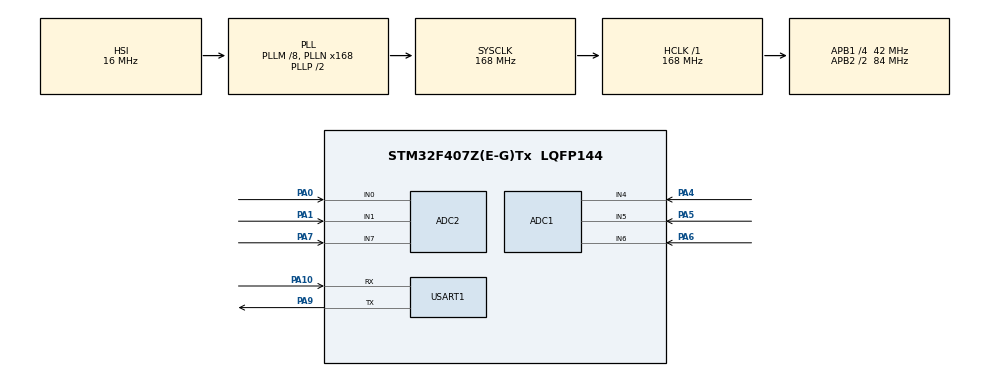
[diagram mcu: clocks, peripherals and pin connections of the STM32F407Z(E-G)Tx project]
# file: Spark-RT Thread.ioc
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ADC1.Channel-0\#ChannelRegularConversion=ADC_CHANNEL_4
ADC1.Channel-1\#ChannelRegularConversion=ADC_CHANNEL_5
ADC1.Channel-2\#ChannelRegularConversion=ADC_CHANNEL_6
ADC1.ClockPrescaler=ADC_CLOCK_SYNC_PCLK_DIV8
ADC1.DMAContinuousRequests=ENABLE
ADC1.ExternalTrigConv=ADC_EXTERNALTRIGCONV_T3_TRGO
ADC1.NbrOfConversion=3
ADC1.NbrOfConversionFlag=1
ADC1.Rank-0\#ChannelRegularConversion=1
ADC1.Rank-1\#ChannelRegularConversion=2
ADC1.Rank-2\#ChannelRegularConversion=3
ADC1.SamplingTime-0\#ChannelRegularConversion=ADC_SAMPLETIME_480CYCLES
ADC1.SamplingTime-1\#ChannelRegularConversion=ADC_SAMPLETIME_480CYCLES
ADC1.SamplingTime-2\#ChannelRegularConversion=ADC_SAMPLETIME_480CYCLES
ADC1.ScanConvMode=ENABLE
ADC1.master=1
ADC2.Channel-0\#ChannelRegularConversion=ADC_CHANNEL_0
ADC2.Channel-1\#ChannelRegularConversion=ADC_CHANNEL_1
ADC2.Channel-2\#ChannelRegularConversion=ADC_CHANNEL_7
ADC2.ClockPrescaler=ADC_CLOCK_SYNC_PCLK_DIV8
ADC2.DMAContinuousRequests=ENABLE
ADC2.ExternalTrigConv=ADC_EXTERNALTRIGCONV_T3_TRGO
ADC2.NbrOfConversion=3
ADC2.NbrOfConversionFlag=1
ADC2.Rank-0\#ChannelRegularConversion=1
ADC2.Rank-1\#ChannelRegularConversion=2
ADC2.Rank-2\#ChannelRegularConversion=3
ADC2.SamplingTime-0\#ChannelRegularConversion=ADC_SAMPLETIME_480CYCLES
ADC2.SamplingTime-1\#ChannelRegularConversion=ADC_SAMPLETIME_480CYCLES
ADC2.SamplingTime-2\#ChannelRegularConversion=ADC_SAMPLETIME_480CYCLES
ADC2.ScanConvMode=ENABLE
Dma.ADC1.0.Direction=DMA_PERIPH_TO_MEMORY
Dma.ADC1.0.FIFOMode=DMA_FIFOMODE_DISABLE
Dma.ADC1.0.Instance=DMA2_Stream0
Dma.ADC1.0.MemDataAlignment=DMA_MDATAALIGN_HALFWORD
Dma.ADC1.0.MemInc=DMA_MINC_ENABLE
Dma.ADC1.0.Mode=DMA_CIRCULAR
Dma.ADC1.0.PeriphDataAlignment=DMA_PDATAALIGN_HALFWORD
Dma.ADC1.0.PeriphInc=DMA_PINC_DISABLE
Dma.ADC1.0.Priority=DMA_PRIORITY_LOW
Dma.ADC2.1.Direction=DMA_PERIPH_TO_MEMORY
Dma.ADC2.1.FIFOMode=DMA_FIFOMODE_DISABLE
Dma.ADC2.1.Instance=DMA2_Stream2
Dma.ADC2.1.MemDataAlignment=DMA_MDATAALIGN_HALFWORD
Dma.ADC2.1.MemInc=DMA_MINC_ENABLE
Dma.ADC2.1.Mode=DMA_CIRCULAR
Dma.ADC2.1.PeriphDataAlignment=DMA_PDATAALIGN_HALFWORD
Dma.ADC2.1.PeriphInc=DMA_PINC_DISABLE
Dma.ADC2.1.Priority=DMA_PRIORITY_LOW
Dma.Request0=ADC1
Dma.Request1=ADC2
Dma.Request2=USART1_RX
Dma.Request3=USART1_TX
Dma.USART1_RX.2.Direction=DMA_PERIPH_TO_MEMORY
Dma.USART1_RX.2.FIFOMode=DMA_FIFOMODE_DISABLE
Dma.USART1_RX.2.Instance=DMA2_Stream5
Dma.USART1_RX.2.MemDataAlignment=DMA_MDATAALIGN_BYTE
Dma.USART1_RX.2.MemInc=DMA_MINC_ENABLE
Dma.USART1_RX.2.Mode=DMA_NORMAL
Dma.USART1_RX.2.PeriphDataAlignment=DMA_PDATAALIGN_BYTE
Dma.USART1_RX.2.PeriphInc=DMA_PINC_DISABLE
Dma.USART1_RX.2.Priority=DMA_PRIORITY_MEDIUM
Dma.USART1_TX.3.Direction=DMA_MEMORY_TO_PERIPH
Dma.USART1_TX.3.FIFOMode=DMA_FIFOMODE_DISABLE
Dma.USART1_TX.3.Instance=DMA2_Stream7
Dma.USART1_TX.3.MemDataAlignment=DMA_MDATAALIGN_BYTE
Dma.USART1_TX.3.MemInc=DMA_MINC_ENABLE
Dma.USART1_TX.3.Mode=DMA_NORMAL
Dma.USART1_TX.3.PeriphDataAlignment=DMA_PDATAALIGN_BYTE
Dma.USART1_TX.3.PeriphInc=DMA_PINC_DISABLE
Dma.USART1_TX.3.Priority=DMA_PRIORITY_VERY_HIGH
Mcu.Family=STM32F4
Mcu.Name=STM32F407Z(E-G)Tx
Mcu.Package=LQFP144
NVIC.ADC_IRQn=true\:0\:0\:false\:false\:true\:false\:true\:true\:true
NVIC.DMA2_Stream0_IRQn=true\:0\:0\:false\:false\:true\:true\:false\:true\:true
NVIC.DMA2_Stream2_IRQn=true\:0\:0\:false\:false\:true\:true\:false\:true\:true
NVIC.DMA2_Stream5_IRQn=true\:0\:0\:false\:false\:true\:true\:false\:true\:true
NVIC.DMA2_Stream7_IRQn=true\:0\:0\:false\:false\:true\:true\:false\:true\:true
NVIC.PriorityGroup=NVIC_PRIORITYGROUP_4
NVIC.USART1_IRQn=true\:0\:0\:false\:false\:true\:false\:true\:true\:true
PA0-WKUP.Signal=ADCx_IN0
PA1.Signal=ADCx_IN1
PA10.Mode=Asynchronous
PA10.Signal=USART1_RX
PA13.Mode=Serial_Wire
PA13.Signal=SYS_JTMS-SWDIO
PA14.Mode=Serial_Wire
PA14.Signal=SYS_JTCK-SWCLK
PA4.Signal=ADCx_IN4
PA5.Signal=ADCx_IN5
PA6.Signal=ADCx_IN6
PA7.Signal=ADCx_IN7
PA9.Mode=Asynchronous
PA9.Signal=USART1_TX
PH0-OSC_IN.Mode=HSE-External-Oscillator
PH0-OSC_IN.Signal=RCC_OSC_IN
PH1-OSC_OUT.Mode=HSE-External-Oscillator
PH1-OSC_OUT.Signal=RCC_OSC_OUT
ProjectManager.HeapSize=0x200
ProjectManager.StackSize=0x400
ProjectManager.TargetToolchain=MDK-ARM V5.32
RCC.48MHZClocksFreq_Value=84000000
RCC.AHBFreq_Value=168000000
RCC.APB1CLKDivider=RCC_HCLK_DIV4
RCC.APB1Freq_Value=42000000
RCC.APB1TimFreq_Value=84000000
RCC.APB2CLKDivider=RCC_HCLK_DIV2
RCC.APB2Freq_Value=84000000
RCC.APB2TimFreq_Value=168000000
RCC.CortexFreq_Value=168000000
RCC.HCLKFreq_Value=168000000
RCC.HSE_VALUE=25000000
RCC.HSI_VALUE=16000000
RCC.LSE_VALUE=32768
RCC.PLLM=8
RCC.PLLN=168
RCC.SYSCLKFreq_VALUE=168000000
RCC.SYSCLKSource=RCC_SYSCLKSOURCE_PLLCLK
RCC.VCOOutputFreq_Value=336000000
RealThread.RT-Thread.3.1.3.RTAaThreadCcRTOSJjkernel=true
RealThread.RT-Thread.3.1.3.RTAaThreadCcRTOSJjshell=true
RealThread.RT-Thread.3.1.3.RT_DEBUG_INIT=0
RealThread.RT-Thread.3.1.3.RT_USING_EVENT=1
RealThread.RT-Thread.3.1.3.RT_USING_HEAP=1
SH.ADCx_IN0.0=ADC2_IN0,IN0
SH.ADCx_IN1.0=ADC2_IN1,IN1
SH.ADCx_IN4.0=ADC1_IN4,IN4
SH.ADCx_IN5.0=ADC1_IN5,IN5
SH.ADCx_IN6.0=ADC1_IN6,IN6
SH.ADCx_IN7.0=ADC2_IN7,IN7
STMicroelectronics.X-CUBE-ALGOBUILD.1.4.0.LibraryCcDSPOoLibraryJjDSPOoLibrary=true
TIM3.Period=499
TIM3.Prescaler=83
TIM3.TIM_MasterOutputTrigger=TIM_TRGO_UPDATE
USART1.VirtualMode=VM_ASYNC
VP_RealThread.RT-Thread_VS_RTOSJjRTAaThread_3.1.3.Mode=RTOSJjRTAaThread
VP_STMicroelectronics.X-CUBE-ALGOBUILD_VS_DSPOoLibraryJjLibrary_1.4.0_1.4.0.Mode=DSPOoLibraryJjLibrary
VP_TIM3_VS_ClockSourceINT.Mode=Internal
board=custom

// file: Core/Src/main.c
/* USER CODE BEGIN Header */
/**
  ******************************************************************************
  * @file           : main.c
  * @brief          : Main program body
  ******************************************************************************
  * @attention
  *
  * Copyright (c) 2025 STMicroelectronics.
  * All rights reserved.
  *
  * This software is licensed under terms that can be found in the LICENSE file
  * in the root directory of this software component.
  * If no LICENSE file comes with this software, it is provided AS-IS.
  *
  ******************************************************************************
  */
/* USER CODE END Header */
#include "main.h"
#include "adc.h"
#include "dma.h"
#include "tim.h"
#include "usart.h"
#include "gpio.h"

/* USER CODE BEGIN Includes */
#include <stdio.h>
#include <string.h>
#include "data.h"
#include <stdlib.h>
#include <rtthread.h>
#include <rthw.h>
/* #include "perform_fft.h" */

/* USER CODE END Includes */

/* USER CODE BEGIN PD */
#define RVE 1.333f
#define ADC_SCALE (3.3f / 4095.0f)
#define BUFFER_SIZE 1080*4

#define EVENT_FLAG_ADC_1_half   (1 << 0)         //ADC采集完成信号
#define EVENT_FLAG_ADC_2_half   (1 << 1)
#define EVENT_FLAG_ADC_1_entire   (1 << 2)
#define EVENT_FLAG_ADC_2_entire   (1 << 3)

#define EVENT_FLAG_bufferA  (1 << 4)        //事件处理完
#define EVENT_FLAG_bufferB  (1 << 5)
#define EVENT_FLAG_bufferA_foc  (1 << 6)
#define EVENT_FLAG_bufferB_foc  (1 << 7)

#define EVENT_FLAG_SENT          (1 << 8)    // UART发送前半信号
#define EVENT_FLAG_SENT_FOC      (1 << 9)

#define UART_RX_LEN 64
/* USER CODE END PD */

/* USER CODE BEGIN PV */
float a = 3.14f;
float voltage_adc1,voltage_adc2;
uint16_t adc_buffer[6200];     //数据采集数组
volatile uint8_t DMA_half = 0;//volatile初始化标志位，防止被更改
volatile uint8_t DMA_finish = 0;
volatile int uart_tx_busy = 0;//串口
char motor_flag = 0;
uint8_t uart_rx_buf[UART_RX_LEN]; // DMA接收缓冲区

static rt_thread_t uart_tid = RT_NULL;//线程句柄
static rt_thread_t event_tid = RT_NULL;
static rt_event_t global_event;

char UART_1_HALF_COMPLETE_ELE;  //串口发送标志位
char UART_1_ENTIRE_COMPLETE_ELE;
char UART_2_HALF_COMPLETE_ELE;
char UART_2_ENTIRE_COMPLETE_ELE;

char UART_1_HALF_COMPLETE_SOUND;  //串口发送标志位
char UART_1_ENTIRE_COMPLETE_SOUND;
char UART_2_HALF_COMPLETE_SOUND;
char UART_2_ENTIRE_COMPLETE_SOUND;

char UART_1_HALF_COMPLETE_SHOCK;  //串口发送标志位
char UART_1_ENTIRE_COMPLETE_SHOCK;
char UART_2_HALF_COMPLETE_SHOCK;
char UART_2_ENTIRE_COMPLETE_SHOCK;

float *ele_buffer = RT_NULL;//定义动态数组指针
float *ele_buffer_foc = RT_NULL;
char *buffer_A = RT_NULL;
char *buffer_B = RT_NULL;
char *buffer_A_foc = RT_NULL;
char *buffer_B_foc = RT_NULL;
char *buffer_A_sound = RT_NULL;
char *buffer_B_sound = RT_NULL;
char *buffer_A_foc_sound = RT_NULL;
char *buffer_B_foc_sound = RT_NULL;
char *buffer_A_shock = RT_NULL;
char *buffer_B_shock = RT_NULL;
char *buffer_A_foc_shock = RT_NULL;
char *buffer_B_foc_shock = RT_NULL;

/* USER CODE END PV */

void SystemClock_Config(void);

/* USER CODE BEGIN 0 */

const char* motor_change(char flag)//电机数据通道切换
{
  switch (flag)
{
  case 0: // dcm1
  return "dcm_1";//退出并返回flag
  case 1: // dcm2
  return "dcm_2";
  case 2: // dcm3
  return "dcm_3";
  case 3: // dcm4
  return "dcm_4";
  case 4: // foc1
  return "foc_1";
  case 5: // foc2
  return "foc_2";
  case 6: // foc3
  return "foc_3";
  case 7: // foc4
  return "foc_4";
  default:
  return "unknown";
}
}

//数据发送线程
static void uart_thread_entry(void *parameter)
{
    rt_uint32_t recved;
while (1)
{
    if (rt_event_recv(global_event,
                          EVENT_FLAG_bufferA | EVENT_FLAG_bufferA_foc |
                          EVENT_FLAG_bufferB | EVENT_FLAG_bufferB_foc,
                          RT_EVENT_FLAG_OR | RT_EVENT_FLAG_CLEAR,
                          RT_WAITING_FOREVER,
                          &recved) == RT_EOK)//等待接受事件标志+自动清除标志
        {
            if (recved & EVENT_FLAG_bufferA)
            {
                  /* 发送电流 */
                  if(buffer_A) rt_free(buffer_A);
                  buffer_A = (char *)rt_malloc(1080 * 4 * sizeof(char));
									if (!buffer_A) {
									rt_kprintf("Malloc failed: buffer_A\n");
									continue;
													}
                  const char* motor = motor_change(motor_flag);
									int offset = 0;//sniprintf格式化数组
                  offset+= snprintf(buffer_A + offset,BUFFER_SIZE-offset,"%s\n%s\n%s\n","FF FF",motor,"1");
                  for (int i = 0; i < 3070; i+=3)
                  {
                    offset+= snprintf(buffer_A + offset,BUFFER_SIZE-offset,"%.5f\n",ele_buffer[i]-0.06f);
                  }
                    offset+= snprintf(buffer_A + offset,BUFFER_SIZE-offset,"%s\n","FF FE");
									while (uart_tx_busy)
									rt_thread_mdelay(1);
									uart_tx_busy = 1;
                  HAL_UART_Transmit_DMA(&huart1, (uint8_t*)buffer_A, offset);
                  UART_1_HALF_COMPLETE_ELE = 1;
                  rt_thread_mdelay(3000);

                  /* 发送声音 */
                  if(buffer_A_sound) rt_free(buffer_A_sound);
                  buffer_A_sound = (char *)rt_malloc(1080 * 4 * sizeof(char));
									if (!buffer_A_sound) {
									rt_kprintf("Malloc failed: buffer_A_sound\n");
									continue;
													}
                  offset = 0;
									motor = motor_change(motor_flag);
                  offset+= snprintf(buffer_A_sound + offset,BUFFER_SIZE-offset,"%s\n%s\n%s\n","FF FF",motor,"2");
                  for (int i = 1; i < 3071; i+=3)
                  {
                  offset+= snprintf(buffer_A_sound + offset,BUFFER_SIZE-offset,"%.5f\n",ele_buffer[i]-0.16f);
                  }
                  offset+= snprintf(buffer_A_sound + offset,BUFFER_SIZE-offset,"%s\n","FF FE");
									while (uart_tx_busy)
									rt_thread_mdelay(1);
									uart_tx_busy = 1;
                  HAL_UART_Transmit_DMA(&huart1, (uint8_t*)buffer_A_sound, offset);
                  UART_1_HALF_COMPLETE_SOUND = 1;
                  rt_thread_mdelay(3000);

                  /* 发送震动 */
                  if(buffer_A_shock) rt_free(buffer_A_shock);
                  buffer_A_shock = (char *)rt_malloc(1080 * 4 * sizeof(char));
									if (!buffer_A_sound) {
									rt_kprintf("Malloc failed: buffer_A_sound\n");
									continue;
													}
                  offset = 0;
									motor = motor_change(motor_flag);
                  offset+= snprintf(buffer_A_shock + offset,BUFFER_SIZE-offset,"%s\n%s\n%s\n","FF FF",motor,"3");
                  for (int i = 2; i < 3072; i+=3)
                  {
                  offset+= snprintf(buffer_A_shock + offset,BUFFER_SIZE-offset,"%.5f\n",ele_buffer[i]);
                  }
                  offset+= snprintf(buffer_A_shock + offset,BUFFER_SIZE-offset,"%s\n","FF FE");
									while (uart_tx_busy)
									rt_thread_mdelay(1);
									uart_tx_busy = 1;
                  HAL_UART_Transmit_DMA(&huart1, (uint8_t*)buffer_A_shock, offset);
                  UART_1_HALF_COMPLETE_SHOCK = 1;
                  rt_thread_mdelay(3000);
            }

            if (recved & EVENT_FLAG_bufferA_foc)
            {
                 /* 发送foc电流 */
                 if(buffer_A_foc) rt_free(buffer_A_foc);
                 buffer_A_foc = (char *)rt_malloc(1080 * 4 * sizeof(char));
								 if (!buffer_A_foc) {
								 rt_kprintf("Malloc failed: buffer_A_foc\n");
								 continue;
													}
                 int offset = 0;//sniprintf格式化数组
								 const char* motor = motor_change(motor_flag);
                 offset+= snprintf(buffer_A_foc + offset,BUFFER_SIZE-offset,"%s\n%s\n%s\n","FF FF",motor,"1");
                 for (int i = 0; i < 3070; i+=3)
                 {
                 offset+= snprintf(buffer_A_foc + offset,BUFFER_SIZE-offset,"%.5f\n",ele_buffer_foc[i]);
                 }
                 offset+= snprintf(buffer_A_foc + offset,BUFFER_SIZE-offset,"%s\n","FF FE");
								 while (uart_tx_busy)
								 rt_thread_mdelay(1);
								 uart_tx_busy = 1;
                 HAL_UART_Transmit_DMA(&huart1, (uint8_t*)buffer_A_foc, offset);
                 UART_2_HALF_COMPLETE_ELE = 1;
                 rt_thread_mdelay(3000);

                 /* 发送foc声音 */
                 if(buffer_A_foc_sound) rt_free(buffer_A_foc_sound);
                 buffer_A_foc_sound = (char *)rt_malloc(1080 * 4 * sizeof(char));
								 if (!buffer_A_foc_sound) {
								 rt_kprintf("Malloc failed: buffer_A_foc_sound\n");
								 continue;
													}
                 offset = 0;//sniprintf格式化数组
								 motor = motor_change(motor_flag);
                 offset+= snprintf(buffer_A_foc_sound + offset,BUFFER_SIZE-offset,"%s\n%s\n%s\n","FF FF",motor,"2");
                 for (int i = 1; i < 3071; i+=3)
                 {
                 offset+= snprintf(buffer_A_foc_sound + offset,BUFFER_SIZE-offset,"%.5f\n",ele_buffer_foc[i]);
                 }
                 offset+= snprintf(buffer_A_foc_sound + offset,BUFFER_SIZE-offset,"%s\n","FF FE");
								 while (uart_tx_busy)
								 rt_thread_mdelay(1);
								 uart_tx_busy = 1;
                 HAL_UART_Transmit_DMA(&huart1, (uint8_t*)buffer_A_foc_sound, offset);
                 UART_2_HALF_COMPLETE_SOUND = 1;
                 rt_thread_mdelay(3000);

                 /* 发送foc震动 */
                 if(buffer_A_foc_shock) rt_free(buffer_A_foc_shock);
                 buffer_A_foc_shock = (char *)rt_malloc(1080 * 4 * sizeof(char));
								 if (!buffer_A_foc_shock) {
								 rt_kprintf("Malloc failed: buffer_A_foc_shock\n");
								 continue;
													}
                 offset = 0;//sniprintf格式化数组
								 motor = motor_change(motor_flag);
                 offset+= snprintf(buffer_A_foc_shock + offset,BUFFER_SIZE-offset,"%s\n%s\n%s\n","FF FF",motor,"3");
                 for (int i = 2; i < 3072; i+=3)
                 {
                 offset+= snprintf(buffer_A_foc_shock + offset,BUFFER_SIZE-offset,"%.5f\n",ele_buffer_foc[i]);
                 }
                 offset+= snprintf(buffer_A_foc_shock + offset,BUFFER_SIZE-offset,"%s\n","FF FE");
								 while (uart_tx_busy)
								 rt_thread_mdelay(1);
								 uart_tx_busy = 1;
                 HAL_UART_Transmit_DMA(&huart1, (uint8_t*)buffer_A_foc_shock, offset);
                 UART_2_HALF_COMPLETE_SHOCK = 1;
                 rt_thread_mdelay(3000);
            }
            if (recved & EVENT_FLAG_ADC_1_entire)
            {
                  /* 发送电流 */
                  if(buffer_B) rt_free(buffer_B);
                  buffer_B = (char *)rt_malloc(1080 * 4 * sizeof(char));
								  if (!buffer_B) {
								  rt_kprintf("Malloc failed: buffer_B\n");
								  continue;
													}
                  int offset = 0;//sniprintf格式化数组
									const char* motor = motor_change(motor_flag);
                  offset+= snprintf(buffer_B + offset,BUFFER_SIZE-offset,"%s\n%s\n%s\n","FF FF",motor,"1");
                  for (int i = 3072; i < 6142; i+=3)
                  {
                    offset+= snprintf(buffer_B + offset,BUFFER_SIZE-offset,"%.5f\n",ele_buffer[i]-0.06f);
                  }
                    offset+= snprintf(buffer_B + offset,BUFFER_SIZE-offset,"%s\n","FF FE");
								  while (uart_tx_busy)
								  rt_thread_mdelay(1);
								  uart_tx_busy = 1;
                  HAL_UART_Transmit_DMA(&huart1, (uint8_t*)buffer_B, offset);
                  UART_1_ENTIRE_COMPLETE_ELE = 1;
                  rt_thread_mdelay(3000);

                  /* 发送声音 */
                  if(buffer_B_sound) rt_free(buffer_B_sound);
                  buffer_B_sound = (char *)rt_malloc(1080 * 4 * sizeof(char));
								  if (!buffer_B_sound) {
								  rt_kprintf("Malloc failed: buffer_B_sound\n");
								  continue;
													}
                  offset = 0;
									motor = motor_change(motor_flag);
                  offset+= snprintf(buffer_B_sound + offset,BUFFER_SIZE-offset,"%s\n%s\n%s\n","FF FF",motor,"2");
                  for (int i = 3073; i < 6143; i+=3)
                  {
                  offset+= snprintf(buffer_B_sound + offset,BUFFER_SIZE-offset,"%.5f\n",ele_buffer[i]-0.16f);
                  }
                  offset+= snprintf(buffer_B_sound + offset,BUFFER_SIZE-offset,"%s\n","FF FE");
								  while (uart_tx_busy)
								  rt_thread_mdelay(1);
								  uart_tx_busy = 1;
                  HAL_UART_Transmit_DMA(&huart1, (uint8_t*)buffer_B_sound, offset);
                  UART_1_ENTIRE_COMPLETE_SOUND = 1;
                  rt_thread_mdelay(3000);

                  /* 发送震动 */
                  if(buffer_B_shock) rt_free(buffer_B_shock);
                  buffer_B_shock = (char *)rt_malloc(1080 * 4 * sizeof(char));
								  if (!buffer_B_shock) {
								  rt_kprintf("Malloc failed: buffer_B_shock\n");
								  continue;
													}
                  offset = 0;
									motor = motor_change(motor_flag);
                  offset+= snprintf(buffer_B_shock + offset,BUFFER_SIZE-offset,"%s\n%s\n%s\n","FF FF",motor,"3");
                  for (int i = 3074; i < 6144; i+=3)
                  {
                  offset+= snprintf(buffer_B_shock + offset,BUFFER_SIZE-offset,"%.5f\n",ele_buffer[i]);
                  }
                  offset+= snprintf(buffer_B_shock + offset,BUFFER_SIZE-offset,"%s\n","FF FE");
								  while (uart_tx_busy)
								  rt_thread_mdelay(1);
								  uart_tx_busy = 1;
                  HAL_UART_Transmit_DMA(&huart1, (uint8_t*)buffer_B_shock, offset);
                  UART_1_ENTIRE_COMPLETE_SHOCK = 1;
                  rt_thread_mdelay(3000);

            }

            if (recved & EVENT_FLAG_ADC_2_entire)
            {
                 /* 发送foc电流 */
                 if(buffer_B_foc) rt_free(buffer_B_foc);
                 buffer_B_foc = (char *)rt_malloc(1080 * 4 * sizeof(char));
								 if (!buffer_B_foc) {
								 rt_kprintf("Malloc failed: buffer_B_foc\n");
								 continue;
													}
                 int offset = 0;//sniprintf格式化数组
								 const char* motor = motor_change(motor_flag);
                 offset+= snprintf(buffer_B_foc + offset,BUFFER_SIZE-offset,"%s\n%s\n%s\n","FF FF",motor,"1");
                 for (int i = 3072; i < 6142; i+=3)
                 {
                 offset+= snprintf(buffer_B_foc + offset,BUFFER_SIZE-offset,"%.5f\n",ele_buffer_foc[i]);
                 }
                 offset+= snprintf(buffer_B_foc + offset,BUFFER_SIZE-offset,"%s\n","FF FE");
								 while (uart_tx_busy)
								 rt_thread_mdelay(1);
								 uart_tx_busy = 1;
                 HAL_UART_Transmit_DMA(&huart1, (uint8_t*)buffer_B_foc, offset);
                 UART_2_ENTIRE_COMPLETE_ELE = 1;
                 rt_thread_mdelay(3000);

                 /* 发送foc声音 */
                 if(buffer_B_foc_sound) rt_free(buffer_B_foc_sound);
                 buffer_B_foc_sound = (char *)rt_malloc(1080 * 4 * sizeof(char));
								 if (!buffer_B_foc_sound) {
								 rt_kprintf("Malloc failed: buffer_B_foc_sound\n");
								 continue;
													}
                 offset = 0;//sniprintf格式化数组
								 motor = motor_change(motor_flag);
                 offset+= snprintf(buffer_B_foc_sound + offset,BUFFER_SIZE-offset,"%s\n%s\n%s\n","FF FF",motor,"2");
                 for (int i = 3073; i < 6143; i+=3)
                 {
                 offset+= snprintf(buffer_B_foc_sound + offset,BUFFER_SIZE-offset,"%.5f\n",ele_buffer_foc[i]);
                 }
                 offset+= snprintf(buffer_B_foc_sound + offset,BUFFER_SIZE-offset,"%s\n","FF FE");
								 while (uart_tx_busy)
								 rt_thread_mdelay(1);
								 uart_tx_busy = 1;
                 HAL_UART_Transmit_DMA(&huart1, (uint8_t*)buffer_B_foc_sound, offset);
                 UART_2_ENTIRE_COMPLETE_SOUND = 1;
                 rt_thread_mdelay(3000);

                 /* 发送foc震动 */
                 if(buffer_B_foc_shock) rt_free(buffer_B_foc_shock);
                 buffer_B_foc_shock = (char *)rt_malloc(1080 * 4 * sizeof(char));
								 if (!buffer_B_foc_shock) {
								 rt_kprintf("Malloc failed: buffer_B_foc_shock\n");
								 continue;
													}
                 offset = 0;//sniprintf格式化数组
								 motor = motor_change(motor_flag);
                 offset+= snprintf(buffer_B_foc_shock + offset,BUFFER_SIZE-offset,"%s\n%s\n%s\n","FF FF",motor,"3");
                 for (int i = 3074; i < 6144; i+=3)
                 {
                 offset+= snprintf(buffer_B_foc_shock + offset,BUFFER_SIZE-offset,"%.5f\n",ele_buffer_foc[i]);
                 }
                 offset+= snprintf(buffer_B_foc_shock + offset,BUFFER_SIZE-offset,"%s\n","FF FE");
								 while (uart_tx_busy)
								 rt_thread_mdelay(1);
								 uart_tx_busy = 1;
                 HAL_UART_Transmit_DMA(&huart1, (uint8_t*)buffer_B_foc_shock, offset);
                 UART_2_ENTIRE_COMPLETE_SHOCK = 1;
                 rt_thread_mdelay(3000);
            }
            }
}
}

//数据处理线程
static void event_handler_thread(void *parameter)
{
    rt_uint32_t recved;
    if(ele_buffer) rt_free(ele_buffer);
    ele_buffer = (float *)rt_malloc(2048 * 3 * sizeof(float));
    if(ele_buffer_foc) rt_free(ele_buffer_foc);
    ele_buffer_foc = (float *)rt_malloc(2048 * 3 * sizeof(float));
    if (ele_buffer == RT_NULL || ele_buffer_foc == RT_NULL)
        rt_kprintf("UART buffer malloc failed!\n");

    while (1)
    {
        if (rt_event_recv(global_event,
                          EVENT_FLAG_ADC_1_half | EVENT_FLAG_ADC_2_half |
                          EVENT_FLAG_ADC_1_entire | EVENT_FLAG_ADC_2_entire,
                          RT_EVENT_FLAG_OR | RT_EVENT_FLAG_CLEAR,
                          RT_WAITING_FOREVER,
                          &recved) == RT_EOK)//等待接受事件标志+自清除标志
        {
            if (recved & EVENT_FLAG_ADC_1_half)
            {
                rt_kprintf("[Event] ADC_1_half completed\n");
                // 处理 ADC1前半 数据
                for (int i = 0; i < 3072; i+=3)
            {
               float v1 = adc_buffer[i] * ADC_SCALE * RVE;
               float v2 = adc_buffer[i + 1] * ADC_SCALE;
               float v3 = adc_buffer[i + 2] * ADC_SCALE;

               ele_buffer[i]     = v1 * RVE;  // 电流通道
               ele_buffer[i + 1] = v2;  // 声音通道
               ele_buffer[i + 2] = v3;  // 震动通道
            }
            rt_event_send(global_event,EVENT_FLAG_bufferA);
            rt_thread_mdelay(2);//处理完数据让出CPU，执行发送线程
            }

            if (recved & EVENT_FLAG_ADC_2_half)
            {

                rt_kprintf("[Event] ADC_2_half completed\n");
                // 处理 ADC2前半 数据
               for (int i = 0; i < 3072; i+=3)
            {
               float v1 = adc_buffer_foc[i] * ADC_SCALE * RVE;
               float v2 = adc_buffer_foc[i + 1] * ADC_SCALE;
               float v3 = adc_buffer_foc[i + 2] * ADC_SCALE;

               ele_buffer_foc[i]     = v1 * RVE;  // 电流通道
               ele_buffer_foc[i + 1] = v2;  // 声音通道
               ele_buffer_foc[i + 2] = v3;  // 震动通道
            }
            rt_event_send(global_event,EVENT_FLAG_bufferA_foc);
            rt_thread_mdelay(2);
            }

            if (recved & EVENT_FLAG_ADC_1_entire)
            {
                rt_event_recv(global_event,
                              EVENT_FLAG_SENT,
                              RT_EVENT_FLAG_AND | RT_EVENT_FLAG_CLEAR,
                              RT_WAITING_FOREVER,
                              &recved);
                rt_kprintf("[Event] ADC_1_entire completed\n");//接收前半发送完毕信号
                // 处理 ADC1后半 数据
                for (int i = 3072; i < 6144; i+=3)
           {
               float v1 = adc_buffer[i] * ADC_SCALE * RVE;
               float v2 = adc_buffer[i + 1] * ADC_SCALE;
               float v3 = adc_buffer[i + 2] * ADC_SCALE;

               ele_buffer[i]     = v1 * RVE;  // 电流通道
               ele_buffer[i + 1] = v2;  // 声音通道
               ele_buffer[i + 2] = v3;  // 震动通道

            }
               rt_event_send(global_event,EVENT_FLAG_bufferB);
               rt_thread_mdelay(2);
            }

            if (recved & EVENT_FLAG_ADC_2_entire)
            {
                 rt_event_recv(global_event,
                              EVENT_FLAG_SENT_FOC,
                              RT_EVENT_FLAG_AND | RT_EVENT_FLAG_CLEAR,
                              RT_WAITING_FOREVER,
                              &recved);
                rt_kprintf("[Event] ADC_2_)entire completed\n");//接受前半发送信号
                // 处理 ADC2后半 数据
            for (int i = 3072; i < 6144; i+=3)
        {
               float v1 = adc_buffer_foc[i] * ADC_SCALE * RVE;
               float v2 = adc_buffer_foc[i + 1] * ADC_SCALE;
               float v3 = adc_buffer_foc[i + 2] * ADC_SCALE;

               ele_buffer_foc[i]     = v1 * RVE;  // 电流通道
               ele_buffer_foc[i + 1] = v2;  // 声音通道
               ele_buffer_foc[i + 2] = v3;  // 震动通道
        }
               rt_event_send(global_event,EVENT_FLAG_bufferB_foc);
               rt_thread_mdelay(2);
            }
        }
    }
}

/* USER CODE END 0 */

int main(void)
{

  /* MCU Configuration--------------------------------------------------------*/

  /* Reset of all peripherals, Initializes the Flash interface and the Systick. */
  HAL_Init();

  /* Configure the system clock */
  SystemClock_Config();

  /* Initialize all configured peripherals */
  MX_GPIO_Init();
  MX_DMA_Init();
  MX_ADC1_Init();
  MX_ADC2_Init();
  MX_TIM3_Init();
  MX_USART1_UART_Init();
  /* USER CODE BEGIN 2 */

  HAL_TIM_Base_Init(&htim3);
  HAL_TIM_Base_Start(&htim3);
  HAL_ADC_Start_DMA(&hadc1,(uint32_t*)adc_buffer,2048*3);//启动adc采集
  HAL_ADC_Start_DMA(&hadc2,(uint32_t*)adc_buffer_foc,2048*3);//启动adc采集

	rt_components_board_init();//rtt初始化

	HAL_UART_Receive_DMA(&huart1, uart_rx_buf, UART_RX_LEN);
__HAL_UART_ENABLE_IT(&huart1, UART_IT_IDLE); // 使能空闲中断

	rt_kprintf("System START!\n"); // 添加启动日志

/* rt-thread任务调度 */

    global_event = rt_event_create("evt", RT_IPC_FLAG_FIFO);//创建事件
    if (global_event == RT_NULL)
  {
    rt_kprintf("Failed to create event!\n");
    return -1;
  }
    uart_tid = rt_thread_create("uart", uart_thread_entry, RT_NULL, 2048, 8, 50); // 创建动态线程 uart_thread
    if (uart_tid != RT_NULL)
        rt_thread_startup(uart_tid);                                               // 创建动态线程 dma_thread
    event_tid = rt_thread_create("evt_handler", event_handler_thread, RT_NULL,1024, 12, 50);//创建事件处理线程 event_handler_thread
    if (event_tid != RT_NULL)
        rt_thread_startup(event_tid);

    return 0; // 不再进入while(1)，主控权移交线程

  /* USER CODE END 2 */

  /* Infinite loop */
  /* USER CODE BEGIN WHILE */
//  while (1) {

    /* USER CODE END WHILE */

    /* USER CODE BEGIN 3 */
//  }

  /* USER CODE END 3 */
}

void SystemClock_Config(void)
{
  RCC_OscInitTypeDef RCC_OscInitStruct = {0};
  RCC_ClkInitTypeDef RCC_ClkInitStruct = {0};

  /** Configure the main internal regulator output voltage
  */
  __HAL_RCC_PWR_CLK_ENABLE();
  __HAL_PWR_VOLTAGESCALING_CONFIG(PWR_REGULATOR_VOLTAGE_SCALE1);

  /** Initializes the RCC Oscillators according to the specified parameters
  * in the RCC_OscInitTypeDef structure.
  */
  RCC_OscInitStruct.OscillatorType = RCC_OSCILLATORTYPE_HSI;
  RCC_OscInitStruct.HSIState = RCC_HSI_ON;
  RCC_OscInitStruct.HSICalibrationValue = RCC_HSICALIBRATION_DEFAULT;
  RCC_OscInitStruct.PLL.PLLState = RCC_PLL_ON;
  RCC_OscInitStruct.PLL.PLLSource = RCC_PLLSOURCE_HSI;
  RCC_OscInitStruct.PLL.PLLM = 8;
  RCC_OscInitStruct.PLL.PLLN = 168;
  RCC_OscInitStruct.PLL.PLLP = RCC_PLLP_DIV2;
  RCC_OscInitStruct.PLL.PLLQ = 4;
  if (HAL_RCC_OscConfig(&RCC_OscInitStruct) != HAL_OK)
  {
    Error_Handler();
  }

  /** Initializes the CPU, AHB and APB buses clocks
  */
  RCC_ClkInitStruct.ClockType = RCC_CLOCKTYPE_HCLK|RCC_CLOCKTYPE_SYSCLK
                              |RCC_CLOCKTYPE_PCLK1|RCC_CLOCKTYPE_PCLK2;
  RCC_ClkInitStruct.SYSCLKSource = RCC_SYSCLKSOURCE_PLLCLK;
  RCC_ClkInitStruct.AHBCLKDivider = RCC_SYSCLK_DIV1;
  RCC_ClkInitStruct.APB1CLKDivider = RCC_HCLK_DIV4;
  RCC_ClkInitStruct.APB2CLKDivider = RCC_HCLK_DIV2;

  if (HAL_RCC_ClockConfig(&RCC_ClkInitStruct, FLASH_LATENCY_5) != HAL_OK)
  {
    Error_Handler();
  }
}

/* USER CODE BEGIN 4 */

void HAL_ADC_ConvHalfCpltCallback(ADC_HandleTypeDef* hadc)
{
    if (hadc->Instance == ADC1)
    {
        rt_event_send(global_event, EVENT_FLAG_ADC_1_half);
    }
    else if (hadc->Instance == ADC2)
    {
       rt_event_send(global_event, EVENT_FLAG_ADC_2_half);
    }
}

void HAL_ADC_ConvCpltCallback(ADC_HandleTypeDef* hadc)//adc中断回调函数；
{
        if (hadc->Instance == ADC1)
    {
        rt_event_send(global_event, EVENT_FLAG_ADC_1_entire);
    }
        else if (hadc->Instance == ADC2)
    {
        rt_event_send(global_event, EVENT_FLAG_ADC_2_entire);
    }
}

void HAL_UART_TxCpltCallback(UART_HandleTypeDef *huart)
{
    if (huart->Instance == USART1)
    {

				uart_tx_busy = 0;//清除串口工作标志位
        if(UART_1_HALF_COMPLETE_SHOCK)
        {
          rt_event_send(global_event, EVENT_FLAG_SENT);//发送完一轮dcm数据
					UART_1_HALF_COMPLETE_SHOCK = 0;
        }

        if(UART_2_HALF_COMPLETE_SHOCK)
        {
          rt_event_send(global_event, EVENT_FLAG_SENT_FOC);
					UART_2_HALF_COMPLETE_SHOCK = 0;
        }
    }

}

void uart_rx_idle_callback(void)//切换电机数据
{
    uint16_t len = UART_RX_LEN - __HAL_DMA_GET_COUNTER(huart1.hdmarx); // 实际长度
    HAL_UART_DMAStop(&huart1); // 停止DMA

    // 简单命令识别
    if (len >= 4)
    {
        if (len >= 4 && memcmp(uart_rx_buf, "foc1", 4) == 0)
      {
        send_AM(0xC0);
        motor_flag = 4;
      }
        else if (len >= 4 && memcmp(uart_rx_buf, "foc2", 4) == 0)
      {
        send_AM(0xD0);
        motor_flag = 5;
      }
        else if (len >= 4 && memcmp(uart_rx_buf, "foc3", 4) == 0)
      {
        send_AM(0x30);
        motor_flag = 6;
      }
        else if (len >= 4 && memcmp(uart_rx_buf, "foc4", 4) == 0)
      {
        send_AM(0x70);
        motor_flag = 7;
      }
        else if (len >= 4 && memcmp(uart_rx_buf,"dcm1", 4) == 0)
      {
        send_DM(0x0C);
        motor_flag = 0;
      }
        else if (len >= 4 && memcmp(uart_rx_buf, "dcm2", 4) == 0)
      {
        send_DM(0x0D);
        motor_flag = 1;
      }
        else if (len >= 4 && memcmp(uart_rx_buf,"dcm3", 4) == 0)
      {
        send_DM(0x03);
        motor_flag = 2;
      }
        else if (len >= 4 && memcmp(uart_rx_buf, "dcm4", 4) == 0)
      {
        send_DM(0x07);
        motor_flag = 3;
      }
        else
        printf("error");
    }
    memset(uart_rx_buf, 0, UART_RX_LEN); // 清空
    HAL_UART_Receive_DMA(&huart1, uart_rx_buf, UART_RX_LEN); // 重启DMA
}
/* USER CODE END 4 */

void Error_Handler(void)
{
  __disable_irq();
  while (1)
  {
  }
}
